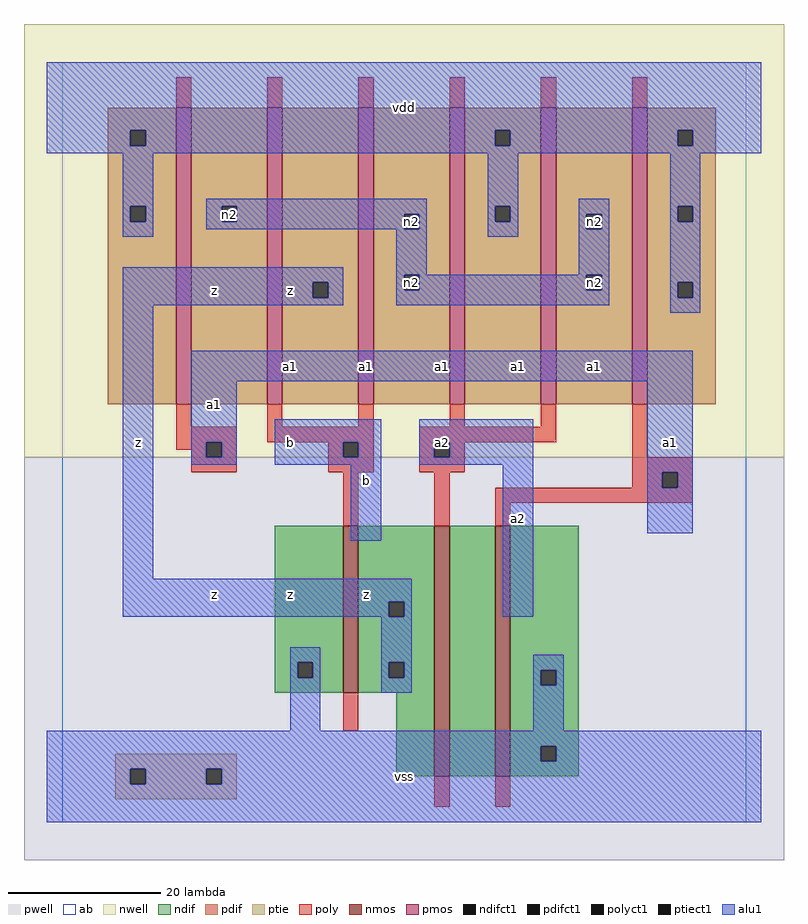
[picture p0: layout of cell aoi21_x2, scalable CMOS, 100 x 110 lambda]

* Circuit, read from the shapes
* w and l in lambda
.subckt aoi21_x2 a1 a2 b n2 vdd vss z
M1 z b vss vss nfet w=22 l=2
M2 n1 a2 z vss nfet w=33 l=2
M3 vss a1 n1 vss nfet w=33 l=2
M4 n2 a1 vdd n3 pfet w=39 l=2 m=2
M5 z b n2 n3 pfet w=39 l=2 m=2
M6 vdd a2 n2 n3 pfet w=39 l=2 m=2
.ends

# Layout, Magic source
magic
tech scmos
<< ab >>
rect 0 0 90 100
<< nwell >>
rect -5 48 95 105
<< pwell >>
rect -5 -5 95 48
<< poly >>
rect 15 94 17 98
rect 27 94 29 98
rect 39 94 41 98
rect 51 94 53 98
rect 63 94 65 98
rect 75 94 77 98
rect 15 52 17 55
rect 27 52 29 55
rect 39 52 41 55
rect 51 52 53 55
rect 63 52 65 55
rect 15 50 23 52
rect 27 50 41 52
rect 15 49 19 50
rect 17 48 19 49
rect 21 48 23 50
rect 17 46 23 48
rect 35 48 37 50
rect 39 48 41 50
rect 35 46 41 48
rect 47 50 65 52
rect 47 48 49 50
rect 51 48 53 50
rect 47 46 53 48
rect 75 48 77 55
rect 75 46 83 48
rect 37 39 39 46
rect 49 39 51 46
rect 75 44 79 46
rect 81 44 83 46
rect 57 42 83 44
rect 57 39 59 42
rect 37 12 39 17
rect 49 2 51 6
rect 57 2 59 6
<< ndif >>
rect 28 21 37 39
rect 28 19 31 21
rect 33 19 37 21
rect 28 17 37 19
rect 39 29 49 39
rect 39 27 43 29
rect 45 27 49 29
rect 39 21 49 27
rect 39 19 43 21
rect 45 19 49 21
rect 39 17 49 19
rect 44 6 49 17
rect 51 6 57 39
rect 59 20 68 39
rect 59 18 63 20
rect 65 18 68 20
rect 59 10 68 18
rect 59 8 63 10
rect 65 8 68 10
rect 59 6 68 8
<< pdif >>
rect 6 91 15 94
rect 6 89 9 91
rect 11 89 15 91
rect 6 81 15 89
rect 6 79 9 81
rect 11 79 15 81
rect 6 55 15 79
rect 17 81 27 94
rect 17 79 21 81
rect 23 79 27 81
rect 17 55 27 79
rect 29 71 39 94
rect 29 69 33 71
rect 35 69 39 71
rect 29 55 39 69
rect 41 80 51 94
rect 41 78 45 80
rect 47 78 51 80
rect 41 72 51 78
rect 41 70 45 72
rect 47 70 51 72
rect 41 55 51 70
rect 53 91 63 94
rect 53 89 57 91
rect 59 89 63 91
rect 53 81 63 89
rect 53 79 57 81
rect 59 79 63 81
rect 53 55 63 79
rect 65 80 75 94
rect 65 78 69 80
rect 71 78 75 80
rect 65 72 75 78
rect 65 70 69 72
rect 71 70 75 72
rect 65 55 75 70
rect 77 91 86 94
rect 77 89 81 91
rect 83 89 86 91
rect 77 81 86 89
rect 77 79 81 81
rect 83 79 86 81
rect 77 71 86 79
rect 77 69 81 71
rect 83 69 86 71
rect 77 55 86 69
<< alu1 >>
rect -2 91 92 100
rect -2 89 9 91
rect 11 89 57 91
rect 59 89 81 91
rect 83 89 92 91
rect -2 88 92 89
rect 8 81 12 88
rect 8 79 9 81
rect 11 79 12 81
rect 8 77 12 79
rect 19 81 48 82
rect 19 79 21 81
rect 23 80 48 81
rect 23 79 45 80
rect 19 78 45 79
rect 47 78 48 80
rect 8 71 37 73
rect 8 69 33 71
rect 35 69 37 71
rect 8 68 37 69
rect 44 72 48 78
rect 56 81 60 88
rect 56 79 57 81
rect 59 79 60 81
rect 56 77 60 79
rect 68 80 72 82
rect 68 78 69 80
rect 71 78 72 80
rect 68 72 72 78
rect 44 70 45 72
rect 47 70 69 72
rect 71 70 72 72
rect 44 68 72 70
rect 80 81 84 88
rect 80 79 81 81
rect 83 79 84 81
rect 80 71 84 79
rect 80 69 81 71
rect 83 69 84 71
rect 8 32 12 68
rect 80 67 84 69
rect 17 58 83 62
rect 17 50 23 58
rect 17 48 19 50
rect 21 48 23 50
rect 17 47 23 48
rect 28 50 42 53
rect 28 48 37 50
rect 39 48 42 50
rect 28 47 42 48
rect 47 50 62 53
rect 47 48 49 50
rect 51 48 62 50
rect 47 47 62 48
rect 38 37 42 47
rect 8 29 46 32
rect 8 27 43 29
rect 45 27 46 29
rect 58 27 62 47
rect 77 46 83 58
rect 77 44 79 46
rect 81 44 83 46
rect 77 38 83 44
rect 30 21 34 23
rect 30 19 31 21
rect 33 19 34 21
rect 30 12 34 19
rect 42 21 46 27
rect 42 19 43 21
rect 45 19 46 21
rect 42 17 46 19
rect 62 20 66 22
rect 62 18 63 20
rect 65 18 66 20
rect 62 12 66 18
rect -2 10 92 12
rect -2 8 63 10
rect 65 8 92 10
rect -2 7 92 8
rect -2 5 9 7
rect 11 5 19 7
rect 21 5 92 7
rect -2 0 92 5
<< ptie >>
rect 7 7 23 9
rect 7 5 9 7
rect 11 5 19 7
rect 21 5 23 7
rect 7 3 23 5
<< nmos >>
rect 37 17 39 39
rect 49 6 51 39
rect 57 6 59 39
<< pmos >>
rect 15 55 17 94
rect 27 55 29 94
rect 39 55 41 94
rect 51 55 53 94
rect 63 55 65 94
rect 75 55 77 94
<< polyct1 >>
rect 19 48 21 50
rect 37 48 39 50
rect 49 48 51 50
rect 79 44 81 46
<< ndifct1 >>
rect 31 19 33 21
rect 43 27 45 29
rect 43 19 45 21
rect 63 18 65 20
rect 63 8 65 10
<< ptiect1 >>
rect 9 5 11 7
rect 19 5 21 7
<< pdifct1 >>
rect 9 89 11 91
rect 9 79 11 81
rect 21 79 23 81
rect 33 69 35 71
rect 45 78 47 80
rect 45 70 47 72
rect 57 89 59 91
rect 57 79 59 81
rect 69 78 71 80
rect 69 70 71 72
rect 81 89 83 91
rect 81 79 83 81
rect 81 69 83 71
<< labels >>
rlabel pdifct1 22 80 22 80 6 n2
rlabel pdifct1 46 71 46 71 6 n2
rlabel pdifct1 46 79 46 79 6 n2
rlabel pdifct1 70 71 70 71 6 n2
rlabel pdifct1 70 79 70 79 6 n2
rlabel alu1 10 50 10 50 6 z
rlabel alu1 20 30 20 30 6 z
rlabel alu1 40 45 40 45 6 b
rlabel alu1 40 30 40 30 6 z
rlabel alu1 30 30 30 30 6 z
rlabel alu1 30 50 30 50 6 b
rlabel alu1 20 55 20 55 6 a1
rlabel alu1 20 70 20 70 6 z
rlabel alu1 40 60 40 60 6 a1
rlabel alu1 30 70 30 70 6 z
rlabel alu1 30 60 30 60 6 a1
rlabel alu1 45 6 45 6 6 vss
rlabel alu1 60 40 60 40 6 a2
rlabel alu1 50 50 50 50 6 a2
rlabel alu1 60 60 60 60 6 a1
rlabel alu1 50 60 50 60 6 a1
rlabel alu1 45 94 45 94 6 vdd
rlabel alu1 80 50 80 50 6 a1
rlabel alu1 70 60 70 60 6 a1
<< end >>
